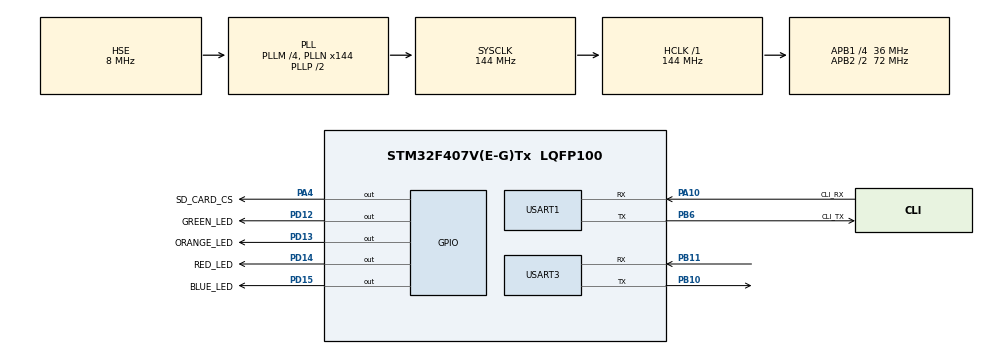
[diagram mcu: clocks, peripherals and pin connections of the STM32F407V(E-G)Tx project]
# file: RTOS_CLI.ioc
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Mcu.Family=STM32F4
Mcu.Name=STM32F407V(E-G)Tx
Mcu.Package=LQFP100
NVIC.PriorityGroup=NVIC_PRIORITYGROUP_4
NVIC.TIM1_UP_TIM10_IRQn=true\:15\:0\:false\:false\:true\:false\:true\:true
NVIC.TIM3_IRQn=true\:0\:0\:false\:false\:true\:true\:true\:true
NVIC.TimeBase=TIM1_UP_TIM10_IRQn
NVIC.TimeBaseIP=TIM1
PA10.GPIO_Label=CLI_RX
PA10.Mode=Asynchronous
PA10.Signal=USART1_RX
PA13.Mode=Serial_Wire
PA13.Signal=SYS_JTMS-SWDIO
PA14.Mode=Serial_Wire
PA14.Signal=SYS_JTCK-SWCLK
PA4.GPIO_Label=SD_CARD_CS
PA4.Signal=GPIO_Output
PB10.Mode=Asynchronous
PB10.Signal=USART3_TX
PB11.Mode=Asynchronous
PB11.Signal=USART3_RX
PB6.GPIO_Label=CLI_TX
PB6.Mode=Asynchronous
PB6.Signal=USART1_TX
PD12.GPIO_Label=GREEN_LED
PD12.Signal=GPIO_Output
PD13.GPIO_Label=ORANGE_LED
PD13.Signal=GPIO_Output
PD14.GPIO_Label=RED_LED
PD14.Signal=GPIO_Output
PD15.GPIO_Label=BLUE_LED
PD15.Signal=GPIO_Output
PH0-OSC_IN.Mode=HSE-External-Oscillator
PH0-OSC_IN.Signal=RCC_OSC_IN
PH1-OSC_OUT.Mode=HSE-External-Oscillator
PH1-OSC_OUT.Signal=RCC_OSC_OUT
ProjectManager.HeapSize=0x200
ProjectManager.StackSize=0x400
ProjectManager.TargetToolchain=STM32CubeIDE
RCC.48MHZClocksFreq_Value=48000000
RCC.AHBFreq_Value=144000000
RCC.APB1CLKDivider=RCC_HCLK_DIV4
RCC.APB1Freq_Value=36000000
RCC.APB1TimFreq_Value=72000000
RCC.APB2CLKDivider=RCC_HCLK_DIV2
RCC.APB2Freq_Value=72000000
RCC.APB2TimFreq_Value=144000000
RCC.CortexFreq_Value=144000000
RCC.HCLKFreq_Value=144000000
RCC.HSE_VALUE=8000000
RCC.HSI_VALUE=16000000
RCC.LSE_VALUE=32768
RCC.PLLM=4
RCC.PLLN=144
RCC.PLLQ=6
RCC.PLLSourceVirtual=RCC_PLLSOURCE_HSE
RCC.SYSCLKFreq_VALUE=144000000
RCC.SYSCLKSource=RCC_SYSCLKSOURCE_PLLCLK
RCC.VCOOutputFreq_Value=288000000
TIM2.Period=0xFFFFFFFF
TIM2.Prescaler=144 - 1
TIM3.Period=200
TIM3.Prescaler=144-1
TIM3.TIM_MasterOutputTrigger=TIM_TRGO_UPDATE
USART1.VirtualMode=VM_ASYNC
USART3.VirtualMode=VM_ASYNC
VP_RNG_VS_RNG.Mode=RNG_Activate
VP_SYS_VS_tim1.Mode=TIM1
VP_TIM2_VS_ClockSourceINT.Mode=Internal
VP_TIM3_VS_ClockSourceINT.Mode=Internal
board=custom

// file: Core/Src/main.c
/* USER CODE BEGIN Header */
/**
 ******************************************************************************
 * @file           : main.c
 * @brief          : Main program body
 ******************************************************************************
 * @attention
 *
 * Copyright (c) 2025 STMicroelectronics.
 * All rights reserved.
 *
 * This software is licensed under terms that can be found in the LICENSE file
 * in the root directory of this software component.
 * If no LICENSE file comes with this software, it is provided AS-IS.
 *
 ******************************************************************************
 */
/* USER CODE END Header */
#include "main.h"
#include "rng.h"
#include "tim.h"
#include "usart.h"
#include "gpio.h"

/* USER CODE BEGIN Includes */
#include <stdio.h>
#include "FreeRTOS.h"
#include "SEGGER_SYSVIEW.h"
#include "queue.h"
#include "task.h"
#include "tasks.h"
#include "settings_task.h"
#include "cpu_monitor.h"
#include "semphr.h"
/* USER CODE END Includes */

/* USER CODE BEGIN PV */
volatile xQueueHandle User_Uart_Queue = NULL;
extern volatile xQueueHandle SettingsQueue;
//volatile xQueueHandle Adc_to_cdc_queue;
xTaskHandle Adc_Task_Handle = NULL;

/* USER CODE END PV */

void SystemClock_Config(void);

int main(void)
{

  /* USER CODE BEGIN 1 */
//    __enable_irq();
  /* USER CODE END 1 */

  /* MCU Configuration--------------------------------------------------------*/

  /* Reset of all peripherals, Initializes the Flash interface and the Systick. */
  HAL_Init();

  /* Configure the system clock */
  SystemClock_Config();

  /* Initialize all configured peripherals */
  MX_GPIO_Init();
  MX_USART3_UART_Init();
  MX_RNG_Init();
  MX_USART1_UART_Init();
  MX_TIM2_Init();
  MX_TIM3_Init();
  /* USER CODE BEGIN 2 */
    HAL_TIM_Base_Start(&htim2); // This timer is used for CPU Monitoring Live RUN Time Use
    HAL_NVIC_SetPriorityGrouping(NVIC_PRIORITYGROUP_4);   //ensure proper priority grouping for freeRTOS
    SEGGER_SYSVIEW_Conf();

    User_Uart_Queue = xQueueCreate(50, sizeof(char));
    SettingsQueue = xQueueCreate(10, sizeof(Settings));
//    Adc_to_cdc_queue = xQueueCreate(50, sizeof(uint16_t));

    assert_param(xTaskCreate(Cli_Task, "CLI Task", 512, NULL, tskIDLE_PRIORITY + 3, NULL) == pdPASS);
    assert_param(xTaskCreate(setting_task, "Setting Task", 512, NULL, tskIDLE_PRIORITY + 3, NULL) == pdPASS);
//    assert_param(xTaskCreate(adc_task, "ADC Task", 512, NULL, tskIDLE_PRIORITY + 2, &Adc_Task_Handle) == pdPASS);

    create_led_tasks();
    HAL_TIM_Base_Start(&htim2); // This timer is used for CPU Monitoring Live RUN Time Use

//    SEGGER_SYSVIEW_Start();      // Start trace recording
    vTaskStartScheduler();
  /* USER CODE END 2 */

  /* Infinite loop */
    while (1)
    {

    }
}

void SystemClock_Config(void)
{
  RCC_OscInitTypeDef RCC_OscInitStruct = {0};
  RCC_ClkInitTypeDef RCC_ClkInitStruct = {0};

  /** Configure the main internal regulator output voltage
  */
  __HAL_RCC_PWR_CLK_ENABLE();
  __HAL_PWR_VOLTAGESCALING_CONFIG(PWR_REGULATOR_VOLTAGE_SCALE1);

  /** Initializes the RCC Oscillators according to the specified parameters
  * in the RCC_OscInitTypeDef structure.
  */
  RCC_OscInitStruct.OscillatorType = RCC_OSCILLATORTYPE_HSE;
  RCC_OscInitStruct.HSEState = RCC_HSE_ON;
  RCC_OscInitStruct.PLL.PLLState = RCC_PLL_ON;
  RCC_OscInitStruct.PLL.PLLSource = RCC_PLLSOURCE_HSE;
  RCC_OscInitStruct.PLL.PLLM = 4;
  RCC_OscInitStruct.PLL.PLLN = 144;
  RCC_OscInitStruct.PLL.PLLP = RCC_PLLP_DIV2;
  RCC_OscInitStruct.PLL.PLLQ = 6;
  if (HAL_RCC_OscConfig(&RCC_OscInitStruct) != HAL_OK)
  {
    Error_Handler();
  }

  /** Initializes the CPU, AHB and APB buses clocks
  */
  RCC_ClkInitStruct.ClockType = RCC_CLOCKTYPE_HCLK|RCC_CLOCKTYPE_SYSCLK
                              |RCC_CLOCKTYPE_PCLK1|RCC_CLOCKTYPE_PCLK2;
  RCC_ClkInitStruct.SYSCLKSource = RCC_SYSCLKSOURCE_PLLCLK;
  RCC_ClkInitStruct.AHBCLKDivider = RCC_SYSCLK_DIV1;
  RCC_ClkInitStruct.APB1CLKDivider = RCC_HCLK_DIV4;
  RCC_ClkInitStruct.APB2CLKDivider = RCC_HCLK_DIV2;

  if (HAL_RCC_ClockConfig(&RCC_ClkInitStruct, FLASH_LATENCY_4) != HAL_OK)
  {
    Error_Handler();
  }
}

void HAL_TIM_PeriodElapsedCallback(TIM_HandleTypeDef *htim)
{
  if (htim->Instance == TIM1)
  {
    HAL_IncTick();
  }
}

void Error_Handler(void)
{
    __disable_irq();
    while (1)
    {
    }
}
